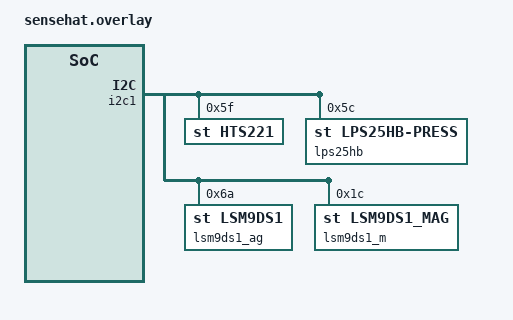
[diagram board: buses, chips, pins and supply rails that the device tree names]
/* SPDX-License-Identifier: BSD-3-Clause */
#include <zephyr/dt-bindings/sensor/lsm9ds1.h>

/* Sense HAT V2 のセンサー(アドレスは pinout.xyz と Linux の rpi-sense-v2-overlay による。
 * 実機の i2c scan で確認するまで推定)。いずれもポーリングで読み、割り込みは使わない。 */
&i2c1 {
	hts221: hts221@5f {
		compatible = "st,hts221";
		reg = <0x5f>;
	};

	lps25hb: lps25hb@5c {
		compatible = "st,lps25hb-press";
		reg = <0x5c>;
	};

	lsm9ds1_ag: lsm9ds1@6a {
		compatible = "st,lsm9ds1";
		reg = <0x6a>;
		imu-odr = <LSM9DS1_IMU_59Hz5>;
	};

	lsm9ds1_m: lsm9ds1-mag@1c {
		compatible = "st,lsm9ds1_mag";
		reg = <0x1c>;
	};
};
